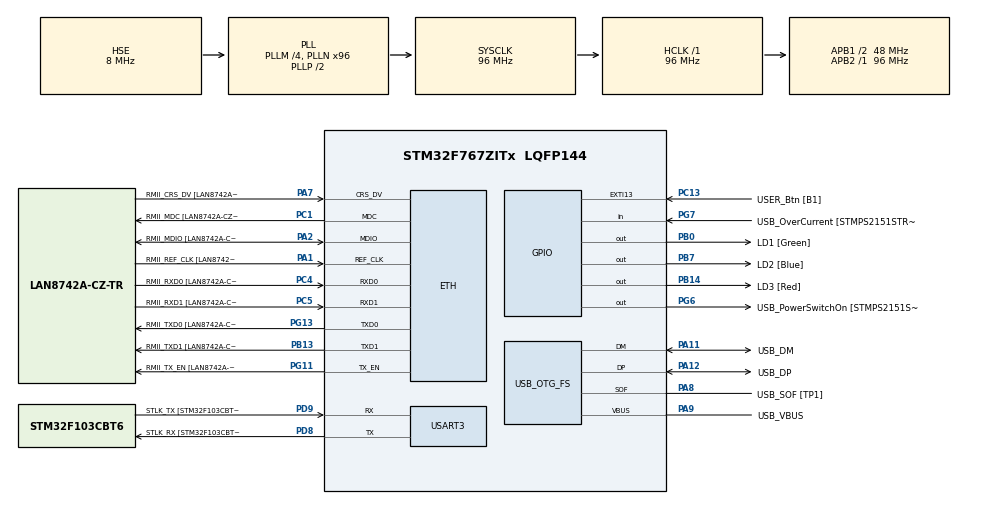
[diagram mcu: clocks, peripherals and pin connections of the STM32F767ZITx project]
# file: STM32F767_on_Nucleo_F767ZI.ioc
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ETH.MediaInterface=ETH_MEDIA_INTERFACE_RMII
ETH.PHY_Name=LAN8742A_PHY_ADDRESS
ETH.PHY_Value=0
ETH.PhyAddress=0
LWIP.GATEWAY_ADDRESS=192.168.000.001
LWIP.IP_ADDRESS=192.168.000.019
LWIP.LWIP_DHCP=1
LWIP.LWIP_HTTPD=1
LWIP.LWIP_HTTPD_CGI=1
LWIP.LWIP_HTTPD_CGI_SSI=0
LWIP.LWIP_HTTPD_SSI=1
LWIP.LWIP_HTTPD_SSI_BY_FILE_EXTENSION=1
LWIP.LWIP_HTTPD_SSI_MULTIPART=0
LWIP.LWIP_HTTPD_SSI_RAW=0
LWIP.NETMASK_ADDRESS=255.255.255.000
LWIP.Version=v2.1.2_Cube
Mcu.Family=STM32F7
Mcu.Name=STM32F767ZITx
Mcu.Package=LQFP144
NVIC.PriorityGroup=NVIC_PRIORITYGROUP_4
PA1.GPIO_Label=RMII_REF_CLK [LAN8742A-CZ-TR_REFCLK0]
PA1.Mode=RMII
PA1.Signal=ETH_REF_CLK
PA10.GPIO_Label=USB_ID
PA10.Signal=USB_OTG_FS_ID
PA11.GPIO_Label=USB_DM
PA11.Mode=Device_Only
PA11.Signal=USB_OTG_FS_DM
PA12.GPIO_Label=USB_DP
PA12.Mode=Device_Only
PA12.Signal=USB_OTG_FS_DP
PA13.GPIO_Label=TMS
PA13.Mode=Serial_Wire
PA13.Signal=SYS_JTMS-SWDIO
PA14.GPIO_Label=TCK
PA14.Mode=Serial_Wire
PA14.Signal=SYS_JTCK-SWCLK
PA2.GPIO_Label=RMII_MDIO [LAN8742A-CZ-TR_MDIO]
PA2.Mode=RMII
PA2.Signal=ETH_MDIO
PA7.GPIO_Label=RMII_CRS_DV [LAN8742A-CZ-TR_CRS_DV]
PA7.Mode=RMII
PA7.Signal=ETH_CRS_DV
PA8.GPIO_Label=USB_SOF [TP1]
PA8.Mode=Activate_SOF_FS
PA8.Signal=USB_OTG_FS_SOF
PA9.GPIO_Label=USB_VBUS
PA9.Mode=Activate_VBUS
PA9.Signal=USB_OTG_FS_VBUS
PB0.GPIO_Label=LD1 [Green]
PB0.Signal=GPIO_Output
PB13.GPIO_Label=RMII_TXD1 [LAN8742A-CZ-TR_TXD1]
PB13.Mode=RMII
PB13.Signal=ETH_TXD1
PB14.GPIO_Label=LD3 [Red]
PB14.GPIO_PuPd=GPIO_PULLUP
PB14.Signal=GPIO_Output
PB3.GPIO_Label=SWO
PB3.Signal=SYS_JTDO-SWO
PB7.GPIO_Label=LD2 [Blue]
PB7.GPIO_PuPd=GPIO_PULLUP
PB7.Signal=GPIO_Output
PC1.GPIO_Label=RMII_MDC [LAN8742A-CZ-TR_MDC]
PC1.Mode=RMII
PC1.Signal=ETH_MDC
PC13.GPIO_Label=USER_Btn [B1]
PC13.Signal=GPXTI13
PC14/OSC32_IN.Mode=LSE-External-Oscillator
PC14/OSC32_IN.Signal=RCC_OSC32_IN
PC15/OSC32_OUT.Mode=LSE-External-Oscillator
PC15/OSC32_OUT.Signal=RCC_OSC32_OUT
PC4.GPIO_Label=RMII_RXD0 [LAN8742A-CZ-TR_RXD0]
PC4.Mode=RMII
PC4.Signal=ETH_RXD0
PC5.GPIO_Label=RMII_RXD1 [LAN8742A-CZ-TR_RXD1]
PC5.Mode=RMII
PC5.Signal=ETH_RXD1
PD8.GPIO_Label=STLK_RX [STM32F103CBT6_PA3]
PD8.Mode=Asynchronous
PD8.Signal=USART3_TX
PD9.GPIO_Label=STLK_TX [STM32F103CBT6_PA2]
PD9.Mode=Asynchronous
PD9.Signal=USART3_RX
PG11.GPIO_Label=RMII_TX_EN [LAN8742A-CZ-TR_TXEN]
PG11.Mode=RMII
PG11.Signal=ETH_TX_EN
PG13.GPIO_Label=RMII_TXD0 [LAN8742A-CZ-TR_TXD0]
PG13.Mode=RMII
PG13.Signal=ETH_TXD0
PG6.GPIO_Label=USB_PowerSwitchOn [STMPS2151STR_EN]
PG6.Signal=GPIO_Output
PG7.GPIO_Label=USB_OverCurrent [STMPS2151STR_FAULT]
PG7.Signal=GPIO_Input
PH0/OSC_IN.GPIO_Label=MCO [STM32F103CBT6_PA8]
PH0/OSC_IN.Mode=HSE-External-Clock-Source
PH0/OSC_IN.Signal=RCC_OSC_IN
PH1/OSC_OUT.Mode=HSE-External-Clock-Source
PH1/OSC_OUT.Signal=RCC_OSC_OUT
ProjectManager.HeapSize=0x200
ProjectManager.StackSize=0x400
ProjectManager.TargetToolchain=STM32CubeIDE
RCC.48MHZClocksFreq_Value=24000000
RCC.AHBFreq_Value=96000000
RCC.APB1CLKDivider=RCC_HCLK_DIV2
RCC.APB1Freq_Value=48000000
RCC.APB1TimFreq_Value=96000000
RCC.APB2Freq_Value=96000000
RCC.APB2TimFreq_Value=96000000
RCC.CortexFreq_Value=96000000
RCC.HCLKFreq_Value=96000000
RCC.HSE_VALUE=8000000
RCC.HSI_VALUE=16000000
RCC.PLLM=4
RCC.PLLMUL=RCC_PLL_MUL9
RCC.PLLN=96
RCC.PLLQ=4
RCC.PRESCALERUSB=RCC_USBCLKSOURCE_PLL_DIV1_5
RCC.SYSCLKFreq_VALUE=96000000
RCC.SYSCLKSource=RCC_SYSCLKSOURCE_PLLCLK
RCC.SYSCLKSourceVirtual=RCC_SYSCLKSOURCE_PLLCLK
RCC.USBFreq_Value=48000000
RCC.VCOOutputFreq_Value=192000000
USART3.VirtualMode-Asynchronous=VM_ASYNC
USB_OTG_FS.VirtualMode=Device_Only
VP_LWIP_VS_Enabled.Mode=Enabled
board=NUCLEO-F767ZI

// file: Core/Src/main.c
/* USER CODE BEGIN Header */
/**
  ******************************************************************************
  * @file           : main.c
  * @brief          : Main program body
  ******************************************************************************
  * @attention
  *
  * <h2><center>&copy; Copyright (c) 2021 STMicroelectronics.
  * All rights reserved.</center></h2>
  *
  * This software component is licensed by ST under BSD 3-Clause license,
  * the "License"; You may not use this file except in compliance with the
  * License. You may obtain a copy of the License at:
  *                        opensource.org/licenses/BSD-3-Clause
  *
  ******************************************************************************
  */
/* USER CODE END Header */
#include "main.h"
#include "lwip.h"
#include "usart.h"
#include "usb_otg.h"
#include "gpio.h"

/* USER CODE BEGIN Includes */

#include <string.h>
#include "lwip/apps/httpd.h"
// my code
#include "CGI_http.h"
#include "SSI_http.h"

/* USER CODE END Includes */

/* USER CODE BEGIN PV */

char GUI_buffer[200] = {0};

/* USER CODE END PV */

void SystemClock_Config(void);

int main(void)
{

  /* MCU Configuration--------------------------------------------------------*/

  /* Reset of all peripherals, Initializes the Flash interface and the Systick. */
  HAL_Init();

  /* Configure the system clock */
  SystemClock_Config();

  /* Initialize all configured peripherals */
  MX_GPIO_Init();
  MX_USART3_UART_Init();
  MX_USB_OTG_FS_PCD_Init();
  MX_LWIP_Init();
  /* USER CODE BEGIN 2 */

    httpd_init();

    //initialise the CGI handlers
    myCGIinit();

    //Initialize SSI handlers
    mySSIinit();

//    extern char const *theSSItags[];  		// no need to include constant ?

  /* USER CODE END 2 */

  /* Infinite loop */
  /* USER CODE BEGIN WHILE */
  while (1)
  {
	  MX_LWIP_Process();

	  HAL_GPIO_TogglePin(LD3_GPIO_Port, LD1_Pin);
	  HAL_Delay(10);

//	  To get IP address, use netif_ip4_addr() and ip4_addr_get_u32().                     Not that useful
//	   When using DHCP, use ip4_addr_isany_val() to determine if it's assigned.
//		And take a look at lwIP's bunch of similar functions and macros.

	  // #define ip4_addr_get_u32(src_ipaddr) ((src_ipaddr)->addr)
	  // #define netif_ip4_addr(netif)        ((const ip4_addr_t*)ip_2_ip4(&((netif)->ip_addr)))

	  if(HAL_GPIO_ReadPin(GPIOC, GPIO_PIN_13) == 1)
	  {

		  extern ip4_addr_t ipaddr;	// from lwip.c
		  extern struct netif gnetif; // from lwip.c

		  snprintf(GUI_buffer, sizeof(GUI_buffer), "Predefined static IP = %lu\n", ipaddr.addr);
		  HAL_UART_Transmit(&huart3, (unsigned char*)&GUI_buffer , strlen(GUI_buffer) + 1, 200);

		  snprintf(GUI_buffer, sizeof(GUI_buffer), "IP read from network interface (dyn. or stat.) = %lu\n", (gnetif.ip_addr));
		  HAL_UART_Transmit(&huart3, (unsigned char*)&GUI_buffer , strlen(GUI_buffer) + 1, 200);

		  snprintf(GUI_buffer, sizeof(GUI_buffer), "IP read from network interface using macro (dyn. or stat.) = %lu\n", *netif_ip4_addr(&gnetif));
		  HAL_UART_Transmit(&huart3, (unsigned char*)&GUI_buffer , strlen(GUI_buffer) + 1, 200);

		  snprintf(GUI_buffer, sizeof(GUI_buffer), "Predefined static IP (using macro) = %lu\n", ip4_addr_get_u32(&ipaddr));
		  HAL_UART_Transmit(&huart3, (unsigned char*)&GUI_buffer , strlen(GUI_buffer) + 1, 200);

		  HAL_Delay(500);
	  }

    /* USER CODE END WHILE */

  }
}

void SystemClock_Config(void)
{
  RCC_OscInitTypeDef RCC_OscInitStruct = {0};
  RCC_ClkInitTypeDef RCC_ClkInitStruct = {0};
  RCC_PeriphCLKInitTypeDef PeriphClkInitStruct = {0};

  /** Configure LSE Drive Capability
  */
  HAL_PWR_EnableBkUpAccess();
  /** Configure the main internal regulator output voltage
  */
  __HAL_RCC_PWR_CLK_ENABLE();
  __HAL_PWR_VOLTAGESCALING_CONFIG(PWR_REGULATOR_VOLTAGE_SCALE3);
  /** Initializes the RCC Oscillators according to the specified parameters
  * in the RCC_OscInitTypeDef structure.
  */
  RCC_OscInitStruct.OscillatorType = RCC_OSCILLATORTYPE_HSE;
  RCC_OscInitStruct.HSEState = RCC_HSE_BYPASS;
  RCC_OscInitStruct.PLL.PLLState = RCC_PLL_ON;
  RCC_OscInitStruct.PLL.PLLSource = RCC_PLLSOURCE_HSE;
  RCC_OscInitStruct.PLL.PLLM = 4;
  RCC_OscInitStruct.PLL.PLLN = 96;
  RCC_OscInitStruct.PLL.PLLP = RCC_PLLP_DIV2;
  RCC_OscInitStruct.PLL.PLLQ = 4;
  if (HAL_RCC_OscConfig(&RCC_OscInitStruct) != HAL_OK)
  {
    Error_Handler();
  }
  /** Activate the Over-Drive mode
  */
  if (HAL_PWREx_EnableOverDrive() != HAL_OK)
  {
    Error_Handler();
  }
  /** Initializes the CPU, AHB and APB buses clocks
  */
  RCC_ClkInitStruct.ClockType = RCC_CLOCKTYPE_HCLK|RCC_CLOCKTYPE_SYSCLK
                              |RCC_CLOCKTYPE_PCLK1|RCC_CLOCKTYPE_PCLK2;
  RCC_ClkInitStruct.SYSCLKSource = RCC_SYSCLKSOURCE_PLLCLK;
  RCC_ClkInitStruct.AHBCLKDivider = RCC_SYSCLK_DIV1;
  RCC_ClkInitStruct.APB1CLKDivider = RCC_HCLK_DIV2;
  RCC_ClkInitStruct.APB2CLKDivider = RCC_HCLK_DIV1;

  if (HAL_RCC_ClockConfig(&RCC_ClkInitStruct, FLASH_LATENCY_3) != HAL_OK)
  {
    Error_Handler();
  }
  PeriphClkInitStruct.PeriphClockSelection = RCC_PERIPHCLK_USART3|RCC_PERIPHCLK_CLK48;
  PeriphClkInitStruct.Usart3ClockSelection = RCC_USART3CLKSOURCE_PCLK1;
  PeriphClkInitStruct.Clk48ClockSelection = RCC_CLK48SOURCE_PLL;
  if (HAL_RCCEx_PeriphCLKConfig(&PeriphClkInitStruct) != HAL_OK)
  {
    Error_Handler();
  }
}

void Error_Handler(void)
{
  __disable_irq();
  while (1)
  {
  }
}

/************************ (C) COPYRIGHT STMicroelectronics *****END OF FILE****/
